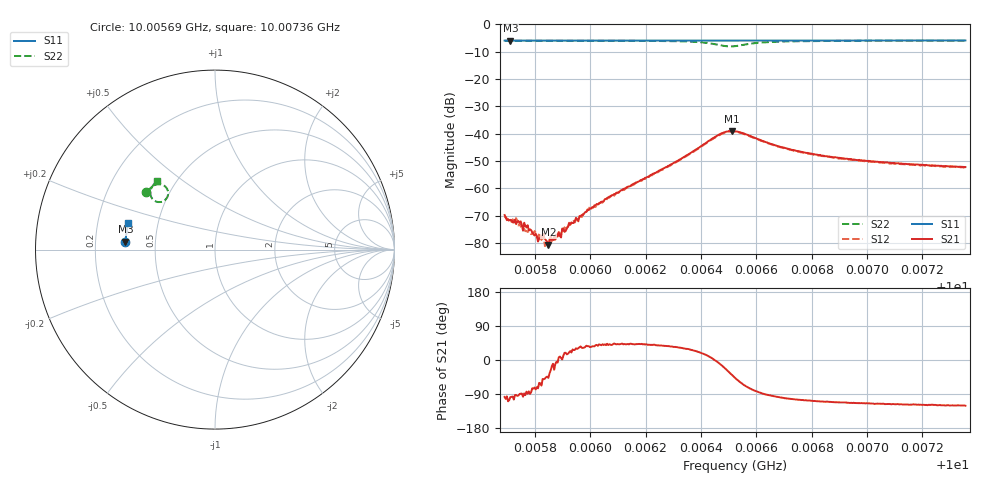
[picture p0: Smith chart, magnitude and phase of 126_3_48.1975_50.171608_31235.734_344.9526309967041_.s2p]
#  HZ  S  RI  R  50.00
! Rohde & Schwarz Vector Network Analyzer
! Rohde-Schwarz,ZNB20-2Port,1311601062101988,3.16
! Created: UTC 3/20/2024, 11:41:43 AM
! freq[Hz]  re:S11  im:S11  re:S21  im:S21  re:S12  im:S12  re:S22  im:S22
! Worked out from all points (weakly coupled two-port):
!   401 points, 10.00569 GHz to 10.00736 GHz, reference 50 ohm
!   highest |S21| = -39.00 dB at 10.00651 GHz (marker M1); lowest = -80.6 dB at 10.00585 GHz (marker M2)
!   lowest |S11| = -6.0 dB at 10.00571 GHz (marker M3), VSWR 3.01, Z = 16.7 + j1.95 ohm
!   |S11| at or under -10 dB: nowhere
!   |S22| runs from -8.1 to -6.0 dB; largest |S21 - S12| = 0.00068
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1.000569e10  -0.4993 0.0426  -4.29e-05 -0.000322  -5.2e-05 -0.000286  -0.3817 0.3189
1.0005711e10  -0.499 0.0438  -3.66e-05 -0.000264  -4.86e-05 -0.000273  -0.3806 0.3202
1.0005728e10  -0.499 0.045  -1.15e-05 -0.000267  1.13e-05 -0.000242  -0.3799 0.3211
1.0005745e10  -0.499 0.046  1.24e-06 -0.000235  2.83e-06 -0.000225  -0.379 0.3222
1.0005774e10  -0.4988 0.0479  3.83e-06 -0.000213  1.03e-05 -0.00016  -0.3776 0.324
1.0005807e10  -0.4987 0.0501  4.21e-05 -0.000126  6.53e-05 -0.00011  -0.3758 0.326
1.0005815e10  -0.4986 0.0508  6e-05 -0.000105  4.54e-05 -0.000149  -0.3755 0.3267
1.0005824e10  -0.4987 0.0513  5.21e-05 -0.000125  6.92e-05 -9.15e-05  -0.375 0.3273
1.000584e10  -0.4984 0.0523  7.86e-05 -7.95e-05  4.65e-05 -9.86e-05  -0.3741 0.3282
1.0005849e10  -0.4985 0.0529  6.33e-05 -6.83e-05  6.9e-05 -5.47e-05  -0.3737 0.3288
1.0005865e10  -0.4984 0.0539  0.000112 -1.97e-05  0.000103 -3.39e-05  -0.3728 0.3296
1.0005969e10  -0.4978 0.0608  0.000277 0.000175  0.000228 0.000197  -0.3664 0.3367
1.0005999e10  -0.4976 0.0626  0.000349 0.000238  0.000346 0.000302  -0.3645 0.3386
1.0006061e10  -0.4973 0.0666  0.000487 0.00045  0.000485 0.000438  -0.36 0.343
1.0006248e10  -0.496 0.0786  0.00165 0.00132  0.00154 0.00133  -0.3395 0.3579
1.0006465e10  -0.4929 0.0926  0.00948 -0.00137  0.00927 -0.000865  -0.2619 0.3251
1.0006511e10  -0.4924 0.0948  0.00874 -0.00705  0.00891 -0.00639  -0.2794 0.2754
1.0006523e10  -0.4923 0.0955  0.00753 -0.00818  0.00782 -0.00756  -0.2927 0.2679
1.0006681e10  -0.4915 0.1056  -0.000802 -0.0058  -0.000536 -0.00573  -0.3605 0.3163
1.0006802e10  -0.4901 0.1134  -0.00129 -0.00407  -0.00108 -0.00407  -0.3556 0.3394
1.0007081e10  -0.4864 0.1312  -0.0013 -0.00266  -0.00113 -0.00262  -0.3393 0.3654
1.0007356e10  -0.482 0.1483  -0.00125 -0.00211  -0.00112 -0.00213  -0.3243 0.382
